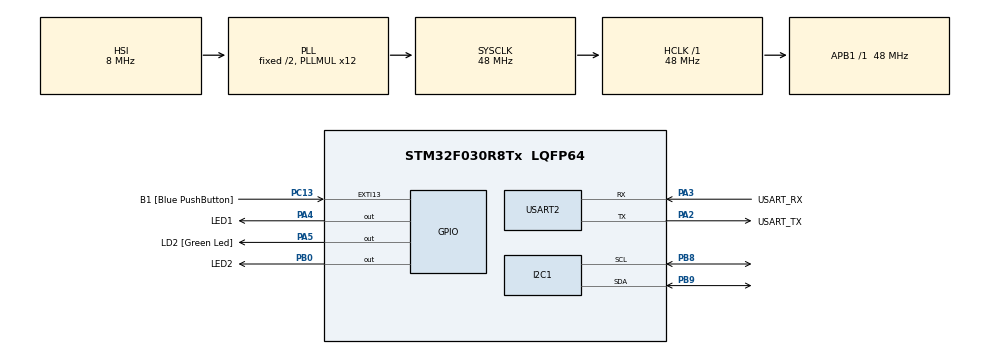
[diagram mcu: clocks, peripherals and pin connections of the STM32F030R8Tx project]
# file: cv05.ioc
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Dma.Request0=USART2_RX
Dma.USART2_RX.0.Direction=DMA_PERIPH_TO_MEMORY
Dma.USART2_RX.0.Instance=DMA1_Channel5
Dma.USART2_RX.0.MemDataAlignment=DMA_MDATAALIGN_BYTE
Dma.USART2_RX.0.MemInc=DMA_MINC_ENABLE
Dma.USART2_RX.0.Mode=DMA_CIRCULAR
Dma.USART2_RX.0.PeriphDataAlignment=DMA_PDATAALIGN_BYTE
Dma.USART2_RX.0.PeriphInc=DMA_PINC_DISABLE
Dma.USART2_RX.0.Priority=DMA_PRIORITY_LOW
Mcu.Family=STM32F0
Mcu.Name=STM32F030R8Tx
Mcu.Package=LQFP64
NVIC.DMA1_Channel4_5_IRQn=true\:0\:0\:false\:false\:true\:false\:true\:true
PA13.GPIO_Label=TMS
PA13.Mode=Serial_Wire
PA13.Signal=SYS_SWDIO
PA14.GPIO_Label=TCK
PA14.Mode=Serial_Wire
PA14.Signal=SYS_SWCLK
PA2.GPIO_Label=USART_TX
PA2.GPIO_Mode=GPIO_MODE_AF_PP
PA2.GPIO_PuPd=GPIO_NOPULL
PA2.GPIO_Speed=GPIO_SPEED_FREQ_LOW
PA2.Mode=Asynchronous
PA2.Signal=USART2_TX
PA3.GPIO_Label=USART_RX
PA3.GPIO_Mode=GPIO_MODE_AF_PP
PA3.GPIO_PuPd=GPIO_NOPULL
PA3.GPIO_Speed=GPIO_SPEED_FREQ_LOW
PA3.Mode=Asynchronous
PA3.Signal=USART2_RX
PA4.GPIO_Label=LED1
PA4.Signal=GPIO_Output
PA5.GPIO_Label=LD2 [Green Led]
PA5.GPIO_Mode=GPIO_MODE_OUTPUT_PP
PA5.GPIO_PuPd=GPIO_NOPULL
PA5.GPIO_Speed=GPIO_SPEED_FREQ_LOW
PA5.Signal=GPIO_Output
PB0.GPIO_Label=LED2
PB0.Signal=GPIO_Output
PB8.Mode=I2C
PB8.Signal=I2C1_SCL
PB9.Mode=I2C
PB9.Signal=I2C1_SDA
PC13.GPIO_Label=B1 [Blue PushButton]
PC13.GPIO_ModeDefaultEXTI=GPIO_MODE_IT_FALLING
PC13.Signal=GPXTI13
PC14-OSC32_IN.Mode=LSE-External-Oscillator
PC14-OSC32_IN.Signal=RCC_OSC32_IN
PC15-OSC32_OUT.Mode=LSE-External-Oscillator
PC15-OSC32_OUT.Signal=RCC_OSC32_OUT
PF0-OSC_IN.Mode=HSE-External-Clock-Source
PF0-OSC_IN.Signal=RCC_OSC_IN
PF1-OSC_OUT.Signal=RCC_OSC_OUT
ProjectManager.HeapSize=0x200
ProjectManager.StackSize=0x400
ProjectManager.TargetToolchain=STM32CubeIDE
RCC.AHBFreq_Value=48000000
RCC.APB1Freq_Value=48000000
RCC.APB1TimFreq_Value=48000000
RCC.HCLKFreq_Value=48000000
RCC.PLLMUL=RCC_PLL_MUL12
RCC.SYSCLKFreq_VALUE=48000000
RCC.SYSCLKSource=RCC_SYSCLKSOURCE_PLLCLK
USART2.VirtualMode-Asynchronous=VM_ASYNC
board=NUCLEO-F030R8

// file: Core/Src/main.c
/* USER CODE BEGIN Header */
/**
 ******************************************************************************
 * @file           : main.c
 * @brief          : Main program body
 ******************************************************************************
 * @attention
 *
 * Copyright (c) 2022 STMicroelectronics.
 * All rights reserved.
 *
 * This software is licensed under terms that can be found in the LICENSE file
 * in the root directory of this software component.
 * If no LICENSE file comes with this software, it is provided AS-IS.
 *
 ******************************************************************************
 */
/* USER CODE END Header */
#include "main.h"

/* USER CODE BEGIN Includes */
#include <string.h>
#include <stdio.h>
/* USER CODE END Includes */

/* USER CODE BEGIN PD */
#define RX_BUFFER_LEN 64
#define CMD_BUFFER_LEN 256
#define uart_rx_write_ptr (RX_BUFFER_LEN - hdma_usart2_rx.Instance->CNDTR)
/* USER CODE END PD */

I2C_HandleTypeDef hi2c1;

UART_HandleTypeDef huart2;
DMA_HandleTypeDef hdma_usart2_rx;

/* USER CODE BEGIN PV */
static uint8_t uart_rx_buf[RX_BUFFER_LEN];
static volatile uint16_t uart_rx_read_ptr = 0;
/* USER CODE END PV */

void SystemClock_Config(void);
static void MX_GPIO_Init(void);
static void MX_DMA_Init(void);
static void MX_USART2_UART_Init(void);
static void MX_I2C1_Init(void);

/* USER CODE BEGIN 0 */
int _write(int file, char const *buf, int n) {
	/* stdout redirection to UART2 */
	HAL_UART_Transmit(&huart2, (uint8_t*) (buf), n, HAL_MAX_DELAY);
	return n;
}

void uart_process_command(char *cmd) {
	char *token;
	token = strtok(cmd, " ");

	if (strcasecmp(token, "HELLO") == 0) {
		printf("Hello World!\n");
		token = strtok(cmd, " "); // token reset
	} else if (strcasecmp(token, "LED1") == 0) { // led 1
		token = strtok(NULL, " ");
		if (strcasecmp(token, "ON") == 0) {
			HAL_GPIO_WritePin(LED1_GPIO_Port, LED1_Pin, 1); // led 1 on
		} else if (strcasecmp(token, "OFF") == 0) {
			HAL_GPIO_WritePin(LED1_GPIO_Port, LED1_Pin, 0); // led 1 off
		}
		token = strtok(cmd, " "); // token reset
	}

	else if (strcasecmp(token, "LED2") == 0) { // led 2
		token = strtok(NULL, " ");
		if (strcasecmp(token, "ON") == 0) {
			HAL_GPIO_WritePin(LED2_GPIO_Port, LED2_Pin, 1); // led 2 on
		} else if (strcasecmp(token, "OFF") == 0) {
			HAL_GPIO_WritePin(LED1_GPIO_Port, LED1_Pin, 0); // led 2 off
		}
		token = strtok(cmd, " "); // token reset
	}

	else if (strcasecmp(token, "STATUS") == 0) { //status
		printf("LED1: %3s, LED2: %3s \n",
				HAL_GPIO_ReadPin(LED1_GPIO_Port, LED1_Pin) ? "ON" : "OFF",
						HAL_GPIO_ReadPin(LED2_GPIO_Port, LED2_Pin) ? "ON" : "OFF");
		token = strtok(cmd, " "); // token reset
	}

	else if  (strcasecmp(token, "READ") == 0) { //read adresa
		uint16_t value;
		token = strtok(NULL, " ");
		HAL_I2C_Mem_Read(&hi2c1, 0b10100000, token, I2C_MEMADD_SIZE_16BIT, &value, 1, 1000);
		printf(value);

		token = strtok(cmd, " "); // token reset
	}

	else if (strcasecmp(token, "WRITE") == 0) { //write adresa hodnota

		token = strtok(cmd, " "); // token reset
	}

	else if (strcasecmp(token, "DUMP") == 0) { // dump

		token = strtok(cmd, " "); // token reset
	}
}
void uart_byte_available(uint8_t c) {
	static uint16_t cnt;
	static char data[CMD_BUFFER_LEN];

	if (cnt < CMD_BUFFER_LEN && c >= ' ' && c <= '~')
		data[cnt++] = c; // condition printable characters
	if ((c == '\n' || c == '\r') && cnt > 0) {
		data[cnt] = '\0';
		uart_process_command(data);
		cnt = 0;
	}
}
/* USER CODE END 0 */

int main(void)
{

	/* MCU Configuration--------------------------------------------------------*/

	/* Reset of all peripherals, Initializes the Flash interface and the Systick. */
	HAL_Init();

	/* USER CODE BEGIN Init */
	MX_GPIO_Init();

	/* USER CODE END Init */

	/* Configure the system clock */
	SystemClock_Config();

	/* Initialize all configured peripherals */
	MX_GPIO_Init();
	MX_DMA_Init();
	MX_USART2_UART_Init();
	MX_I2C1_Init();
	/* USER CODE BEGIN 2 */
	HAL_UART_Receive_DMA(&huart2, uart_rx_buf, RX_BUFFER_LEN);
	/* USER CODE END 2 */

	/* Infinite loop */
	/* USER CODE BEGIN WHILE */
	while (1) {

		while (uart_rx_read_ptr != uart_rx_write_ptr) {
			uint8_t b = uart_rx_buf[uart_rx_read_ptr];
			if (++uart_rx_read_ptr >= RX_BUFFER_LEN)
				uart_rx_read_ptr = 0; // increase read pointer

			uart_byte_available(b); // process every received byte with the RX state machine
		}

		/* USER CODE END WHILE */

	}
}

void SystemClock_Config(void)
{
	RCC_OscInitTypeDef RCC_OscInitStruct = {0};
	RCC_ClkInitTypeDef RCC_ClkInitStruct = {0};
	RCC_PeriphCLKInitTypeDef PeriphClkInit = {0};

	/** Initializes the RCC Oscillators according to the specified parameters
	 * in the RCC_OscInitTypeDef structure.
	 */
	RCC_OscInitStruct.OscillatorType = RCC_OSCILLATORTYPE_HSI;
	RCC_OscInitStruct.HSIState = RCC_HSI_ON;
	RCC_OscInitStruct.HSICalibrationValue = RCC_HSICALIBRATION_DEFAULT;
	RCC_OscInitStruct.PLL.PLLState = RCC_PLL_ON;
	RCC_OscInitStruct.PLL.PLLSource = RCC_PLLSOURCE_HSI;
	RCC_OscInitStruct.PLL.PLLMUL = RCC_PLL_MUL12;
	RCC_OscInitStruct.PLL.PREDIV = RCC_PREDIV_DIV1;
	if (HAL_RCC_OscConfig(&RCC_OscInitStruct) != HAL_OK)
	{
		Error_Handler();
	}

	/** Initializes the CPU, AHB and APB buses clocks
	 */
	RCC_ClkInitStruct.ClockType = RCC_CLOCKTYPE_HCLK|RCC_CLOCKTYPE_SYSCLK
			|RCC_CLOCKTYPE_PCLK1;
	RCC_ClkInitStruct.SYSCLKSource = RCC_SYSCLKSOURCE_PLLCLK;
	RCC_ClkInitStruct.AHBCLKDivider = RCC_SYSCLK_DIV1;
	RCC_ClkInitStruct.APB1CLKDivider = RCC_HCLK_DIV1;

	if (HAL_RCC_ClockConfig(&RCC_ClkInitStruct, FLASH_LATENCY_1) != HAL_OK)
	{
		Error_Handler();
	}
	PeriphClkInit.PeriphClockSelection = RCC_PERIPHCLK_I2C1;
	PeriphClkInit.I2c1ClockSelection = RCC_I2C1CLKSOURCE_HSI;
	if (HAL_RCCEx_PeriphCLKConfig(&PeriphClkInit) != HAL_OK)
	{
		Error_Handler();
	}
}

static void MX_I2C1_Init(void)
{

	hi2c1.Instance = I2C1;
	hi2c1.Init.Timing = 0x2000090E;
	hi2c1.Init.OwnAddress1 = 0;
	hi2c1.Init.AddressingMode = I2C_ADDRESSINGMODE_7BIT;
	hi2c1.Init.DualAddressMode = I2C_DUALADDRESS_DISABLE;
	hi2c1.Init.OwnAddress2 = 0;
	hi2c1.Init.OwnAddress2Masks = I2C_OA2_NOMASK;
	hi2c1.Init.GeneralCallMode = I2C_GENERALCALL_DISABLE;
	hi2c1.Init.NoStretchMode = I2C_NOSTRETCH_DISABLE;
	if (HAL_I2C_Init(&hi2c1) != HAL_OK)
	{
		Error_Handler();
	}

	/** Configure Analogue filter
	 */
	if (HAL_I2CEx_ConfigAnalogFilter(&hi2c1, I2C_ANALOGFILTER_ENABLE) != HAL_OK)
	{
		Error_Handler();
	}

	/** Configure Digital filter
	 */
	if (HAL_I2CEx_ConfigDigitalFilter(&hi2c1, 0) != HAL_OK)
	{
		Error_Handler();
	}

}

static void MX_USART2_UART_Init(void)
{

	huart2.Instance = USART2;
	huart2.Init.BaudRate = 38400;
	huart2.Init.WordLength = UART_WORDLENGTH_8B;
	huart2.Init.StopBits = UART_STOPBITS_1;
	huart2.Init.Parity = UART_PARITY_NONE;
	huart2.Init.Mode = UART_MODE_TX_RX;
	huart2.Init.HwFlowCtl = UART_HWCONTROL_NONE;
	huart2.Init.OverSampling = UART_OVERSAMPLING_16;
	huart2.Init.OneBitSampling = UART_ONE_BIT_SAMPLE_DISABLE;
	huart2.AdvancedInit.AdvFeatureInit = UART_ADVFEATURE_NO_INIT;
	if (HAL_UART_Init(&huart2) != HAL_OK)
	{
		Error_Handler();
	}

}

static void MX_DMA_Init(void)
{

	/* DMA controller clock enable */
	__HAL_RCC_DMA1_CLK_ENABLE();

	/* DMA interrupt init */
	/* DMA1_Channel4_5_IRQn interrupt configuration */
	HAL_NVIC_SetPriority(DMA1_Channel4_5_IRQn, 0, 0);
	HAL_NVIC_EnableIRQ(DMA1_Channel4_5_IRQn);

}

static void MX_GPIO_Init(void)
{
	GPIO_InitTypeDef GPIO_InitStruct = {0};

	/* GPIO Ports Clock Enable */
	__HAL_RCC_GPIOC_CLK_ENABLE();
	__HAL_RCC_GPIOF_CLK_ENABLE();
	__HAL_RCC_GPIOA_CLK_ENABLE();
	__HAL_RCC_GPIOB_CLK_ENABLE();

	/*Configure GPIO pin Output Level */
	HAL_GPIO_WritePin(GPIOA, LED1_Pin|LD2_Pin, GPIO_PIN_RESET);

	/*Configure GPIO pin Output Level */
	HAL_GPIO_WritePin(LED2_GPIO_Port, LED2_Pin, GPIO_PIN_RESET);

	/*Configure GPIO pin : B1_Pin */
	GPIO_InitStruct.Pin = B1_Pin;
	GPIO_InitStruct.Mode = GPIO_MODE_IT_FALLING;
	GPIO_InitStruct.Pull = GPIO_NOPULL;
	HAL_GPIO_Init(B1_GPIO_Port, &GPIO_InitStruct);

	/*Configure GPIO pins : LED1_Pin LD2_Pin */
	GPIO_InitStruct.Pin = LED1_Pin|LD2_Pin;
	GPIO_InitStruct.Mode = GPIO_MODE_OUTPUT_PP;
	GPIO_InitStruct.Pull = GPIO_NOPULL;
	GPIO_InitStruct.Speed = GPIO_SPEED_FREQ_LOW;
	HAL_GPIO_Init(GPIOA, &GPIO_InitStruct);

	/*Configure GPIO pin : LED2_Pin */
	GPIO_InitStruct.Pin = LED2_Pin;
	GPIO_InitStruct.Mode = GPIO_MODE_OUTPUT_PP;
	GPIO_InitStruct.Pull = GPIO_NOPULL;
	GPIO_InitStruct.Speed = GPIO_SPEED_FREQ_LOW;
	HAL_GPIO_Init(LED2_GPIO_Port, &GPIO_InitStruct);

}

void Error_Handler(void)
{
	__disable_irq();
	while (1) {
	}
}
